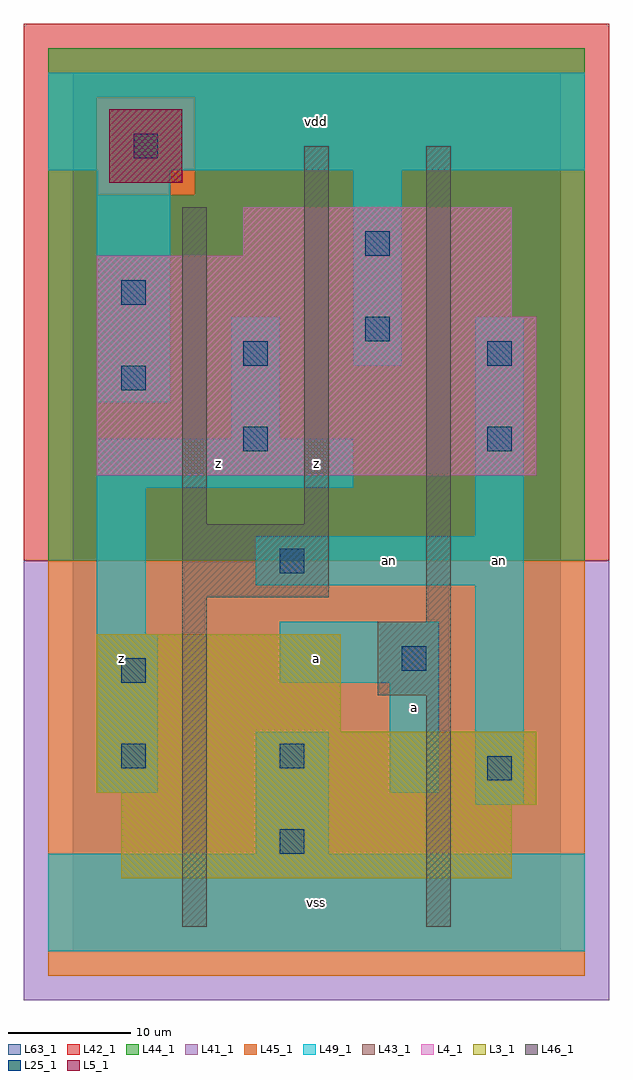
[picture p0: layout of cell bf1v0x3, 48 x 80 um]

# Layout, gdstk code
import gdstk
lib = gdstk.Library(unit=1e-6, precision=1e-09)
def R(c, l, rs):  # rectangles x0, y0, x1, y1
    for r in rs: c.add(gdstk.rectangle(r[:2], r[2:], *l))
L3_1 = (3, 1)
L4_1 = (4, 1)
L5_1 = (5, 1)
L25_1 = (25, 1)
L41_1 = (41, 1)
L42_1 = (42, 1)
L43_1 = (43, 1)
L44_1 = (44, 1)
L45_1 = (45, 1)
L46_1 = (46, 1)
L49_1 = (49, 1)
L63_1 = (63, 1)

bf1v0x3 = lib.new_cell('bf1v0x3')
R(bf1v0x3, L3_1, [(4,6,36,12), (4,12,38,13), (2,13,38,18), (2,18,22,26)])
R(bf1v0x3, L4_1, [(2,39,38,52), (2,52,36,57), (14,57,36,61)])
R(bf1v0x3, L5_1, [(3,63,9,69)])
R(bf1v0x3, L25_1, [(17,8,19,10), (34,14,36,16), (4,15,6,17), (17,15,19,17), (4,22,6,24), (27,23,29,25), (17,31,19,33), (14,41,16,43), (34,41,36,43), (4,46,6,48), (14,48,16,50), (34,48,36,50), (24,50,26,52), (4,53,6,55), (24,57,26,59), (5,65,7,67)])
R(bf1v0x3, L41_1, [(-4,-4,44,32)])
R(bf1v0x3, L42_1, [(-4,32,44,76)])
R(bf1v0x3, L43_1, [(4,6,36,12), (4,12,38,13), (2,13,38,18), (2,18,22,26), (2,39,38,52), (2,52,36,57), (14,57,36,61), (3,63,9,69)])
R(bf1v0x3, L44_1, [(-2,32,42,62), (-2,62,2,70), (10,62,42,70), (-2,70,42,74)])
R(bf1v0x3, L45_1, [(-2,-2,42,32), (2,62,10,70)])
R(bf1v0x3, L46_1, [(9,2,11,29), (29,2,31,21), (25,21,31,27), (29,27,31,66), (9,29,21,35), (9,35,11,61), (19,35,21,66)])
R(bf1v0x3, L49_1, [(-2,0,42,8), (15,8,21,18), (33,12,37,30), (2,13,7,26), (26,13,30,22), (17,22,30,27), (2,26,6,38), (15,30,37,34), (33,34,37,52), (2,38,23,42), (13,42,17,52), (2,45,8,64), (23,48,27,64), (-2,64,42,72)])
R(bf1v0x3, L63_1, [(0,0,40,72)])
bf1v0x3.add(gdstk.Label('z', (4,24), layer=49, texttype=1))
bf1v0x3.add(gdstk.Label('z', (12,40), layer=49, texttype=1))
bf1v0x3.add(gdstk.Label('vss', (20,4), layer=49, texttype=1))
bf1v0x3.add(gdstk.Label('a', (28,20), layer=49, texttype=1))
bf1v0x3.add(gdstk.Label('a', (20,24), layer=49, texttype=1))
bf1v0x3.add(gdstk.Label('z', (20,40), layer=49, texttype=1))
bf1v0x3.add(gdstk.Label('vdd', (20,68), layer=49, texttype=1))
bf1v0x3.add(gdstk.Label('an', (26,32), layer=49, texttype=1))
bf1v0x3.add(gdstk.Label('an', (35,32), layer=49, texttype=1))

lib.write_gds('bf1v0x3.gds')
